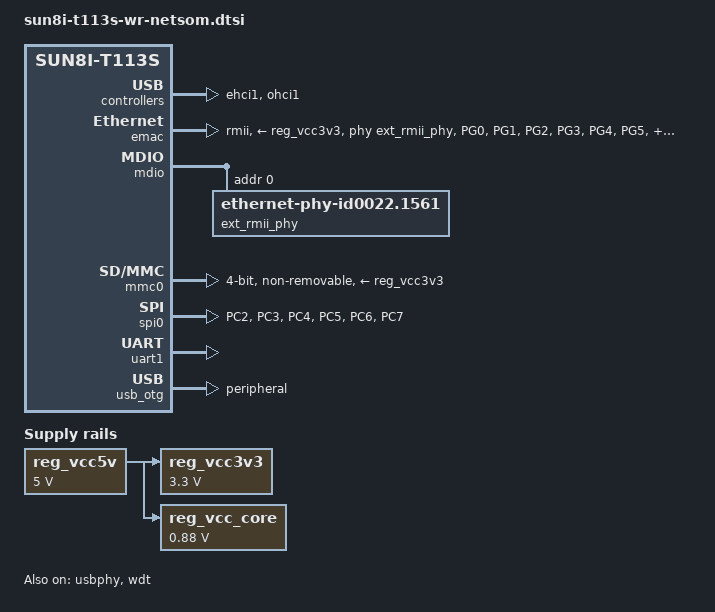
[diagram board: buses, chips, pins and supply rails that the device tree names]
// SPDX-License-Identifier: (GPL-2.0+ OR MIT)
// Copyright (C) 2024 WirelessRoad.

#include <dt-bindings/interrupt-controller/irq.h>
#include <dt-bindings/gpio/gpio.h>

#include "sun8i-t113s.dtsi"

/ {
     aliases {
        ethernet0 = &emac;
        serial1 = &uart1;
    };

    chosen {
        stdout-path = "serial1:115200n8";
    };

    reg_vcc5v: regulator-5v {
        compatible = "regulator-fixed";
        regulator-name = "vcc-5v";
        regulator-min-microvolt = <5000000>;
        regulator-max-microvolt = <5000000>;
        regulator-always-on;
    };
    reg_vcc3v3: regulator-3v3 {
        compatible = "regulator-fixed";
        regulator-name = "vcc-3v3";
        regulator-min-microvolt = <3300000>;
        regulator-max-microvolt = <3300000>;
        vin-supply = <&reg_vcc5v>;
        regulator-always-on;
    };

    reg_vcc_core: regulator-core {
        compatible = "regulator-fixed";
        regulator-name = "vcc-core";
        regulator-min-microvolt = <880000>;
        regulator-max-microvolt = <880000>;
        vin-supply = <&reg_vcc5v>;
        regulator-always-on;
    };
};

&cpu0 {
	cpu-supply = <&reg_vcc_core>;
    clock-frequency = <1200000000>;
};

&cpu1 {
	cpu-supply = <&reg_vcc_core>;
    clock-frequency = <1200000000>;
};

&dcxo {
    clock-frequency = <24000000>;
};

&ehci1 {
	status = "okay";
};

&emac {
    pinctrl-names = "default";
    pinctrl-0 = <&rmii_pg_pins>;
    phy-mode = "rmii";
    phy-handle = <&ext_rmii_phy>;
    phy-supply = <&reg_vcc3v3>;
    status = "okay";
};

&mdio {

    ext_rmii_phy: ethernet-phy@0 {
        compatible = "ethernet-phy-id0022.1561", "ethernet-phy-ieee802.3-c22";
        clocks = <&ccu CLK_EMAC_25M>;
        clock-names = "ext-clk";
        reg = <0>;
    };
};

&mmc0 {
	pinctrl-0 = <&mmc0_pins>;
	pinctrl-names = "default";
	vmmc-supply = <&reg_vcc3v3>;
	non-removable;
	disable-wp;
	bus-width = <4>;
	status = "okay";
};

&ohci1 {
	status = "okay";
};

&pio {
    vcc-pb-supply = <&reg_vcc3v3>;
	vcc-pc-supply = <&reg_vcc3v3>;
	vcc-pd-supply = <&reg_vcc3v3>;
	vcc-pe-supply = <&reg_vcc3v3>;
	vcc-pf-supply = <&reg_vcc3v3>;
	vcc-pg-supply = <&reg_vcc3v3>;

    rmii_pg_pins: rmii-pg-pins {
        pins = "PG0", "PG1", "PG2", "PG3", "PG4",
                        "PG5", "PG11", "PG12", "PG13", "PG14", "PG15";
        function = "emac";
    };

    qspi0_pins: qspi0-pins {
        pins = "PC2", "PC3", "PC4", "PC5", "PC6", "PC7";
        function = "spi0";
    };

};

&spi0 {
    pinctrl-names = "default";
    pinctrl-0 = <&qspi0_pins>;
    status = "okay";
};

&uart1 {
    pinctrl-names = "default";
    pinctrl-0 = <&uart1_pg6_pins>;
    status = "okay";
};


&usb_otg {
	dr_mode = "peripheral";
	status = "okay";
};

&usbphy {
	usb1_vbus-supply = <&reg_vcc5v>;
	status = "okay";
};

&wdt {
    status = "okay";
};
